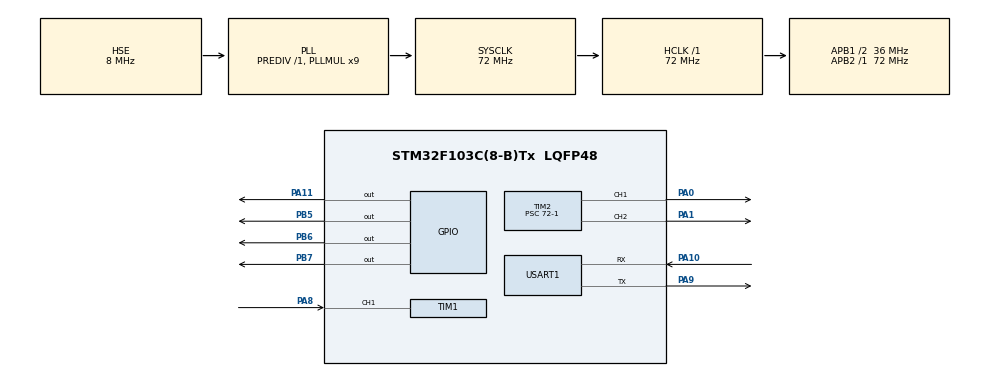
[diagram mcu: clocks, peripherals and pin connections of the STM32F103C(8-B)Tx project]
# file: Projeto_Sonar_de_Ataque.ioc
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Mcu.Family=STM32F1
Mcu.Name=STM32F103C(8-B)Tx
Mcu.Package=LQFP48
NVIC.PriorityGroup=NVIC_PRIORITYGROUP_4
NVIC.TIM1_CC_IRQn=true\:0\:0\:false\:false\:true\:true\:true\:true
PA0-WKUP.Signal=S_TIM2_CH1_ETR
PA1.Signal=S_TIM2_CH2
PA10.Mode=Asynchronous
PA10.Signal=USART1_RX
PA11.Signal=GPIO_Output
PA13.Mode=Serial_Wire
PA13.Signal=SYS_JTMS-SWDIO
PA14.Mode=Serial_Wire
PA14.Signal=SYS_JTCK-SWCLK
PA8.Signal=S_TIM1_CH1
PA9.Mode=Asynchronous
PA9.Signal=USART1_TX
PB5.Signal=GPIO_Output
PB6.Signal=GPIO_Output
PB7.Signal=GPIO_Output
PD0-OSC_IN.Mode=HSE-External-Oscillator
PD0-OSC_IN.Signal=RCC_OSC_IN
PD1-OSC_OUT.Mode=HSE-External-Oscillator
PD1-OSC_OUT.Signal=RCC_OSC_OUT
ProjectManager.HeapSize=0x200
ProjectManager.StackSize=0x400
ProjectManager.TargetToolchain=STM32CubeIDE
RCC.AHBFreq_Value=72000000
RCC.APB1CLKDivider=RCC_HCLK_DIV2
RCC.APB1Freq_Value=36000000
RCC.APB1TimFreq_Value=72000000
RCC.APB2Freq_Value=72000000
RCC.APB2TimFreq_Value=72000000
RCC.HCLKFreq_Value=72000000
RCC.PLLMUL=RCC_PLL_MUL9
RCC.PLLSourceVirtual=RCC_PLLSOURCE_HSE
RCC.SYSCLKFreq_VALUE=72000000
RCC.SYSCLKSource=RCC_SYSCLKSOURCE_PLLCLK
RCC.USBFreq_Value=72000000
SH.S_TIM1_CH1.0=TIM1_CH1,Input_Capture1_from_TI1
SH.S_TIM2_CH1_ETR.0=TIM2_CH1,PWM Generation1 CH1
SH.S_TIM2_CH2.0=TIM2_CH2,PWM Generation2 CH2
TIM1.Channel-Input_Capture1_from_TI1=TIM_CHANNEL_1
TIM1.Period=0xffff-1
TIM1.Prescaler=72-1
TIM2.AutoReloadPreload=TIM_AUTORELOAD_PRELOAD_ENABLE
TIM2.Channel-PWM\ Generation1\ CH1=TIM_CHANNEL_1
TIM2.Channel-PWM\ Generation2\ CH2=TIM_CHANNEL_2
TIM2.Period=20000-1
TIM2.Prescaler=72-1
USART1.VirtualMode=VM_ASYNC
VP_TIM2_VS_ClockSourceINT.Mode=Internal
board=custom

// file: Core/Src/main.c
/* USER CODE BEGIN Header */
/**
 ******************************************************************************
 * @file           : main.c
 * @brief          : Main program body
 ******************************************************************************
 * @attention
 *
 * Copyright (c) 2026 STMicroelectronics.
 * All rights reserved.
 *
 * This software is licensed under terms that can be found in the LICENSE file
 * in the root directory of this software component.
 * If no LICENSE file comes with this software, it is provided AS-IS.
 *
 ******************************************************************************
 */
/* USER CODE END Header */
#include "main.h"
#include "sonar_de_ataque.h"

TIM_HandleTypeDef htim1;
TIM_HandleTypeDef htim2;
UART_HandleTypeDef huart1;

void SystemClock_Config(void);
static void MX_GPIO_Init(void);
static void MX_TIM2_Init(void);
static void MX_USART1_UART_Init(void);
static void MX_TIM1_Init(void);

int __io_putchar(int ch)

{

	HAL_UART_Transmit(&huart1, (uint8_t*) &ch, 1, HAL_MAX_DELAY);

	return ch;

}

int main(void) {

	/* MCU Configuration--------------------------------------------------------*/

	/* Reset of all peripherals, Initializes the Flash interface and the Systick. */
	HAL_Init();

	/* Configure the system clock */
	SystemClock_Config();

	/* USER CODE BEGIN SysInit */
	//DWT_Init();
	/* USER CODE END SysInit */

	/* Initialize all configured peripherals */
	MX_GPIO_Init();
	MX_TIM2_Init();
	MX_USART1_UART_Init();
	MX_TIM1_Init();
	/* USER CODE BEGIN 2 */
	prototype.scanServo.htim = &htim2;
	prototype.scanServo.channel = TIM_CHANNEL_1;

	prototype.attackServo.htim = &htim2;
	prototype.attackServo.channel = TIM_CHANNEL_2;

	prototype.attackLaser.GPIOx = GPIOB;
	prototype.attackLaser.GPIO_Pin = GPIO_PIN_5;

	prototype.alertBuzzer.GPIOx = GPIOB;
	prototype.alertBuzzer.GPIO_Pin = GPIO_PIN_6;

	prototype.alertLed.GPIOx = GPIOB;
	prototype.alertLed.GPIO_Pin = GPIO_PIN_7;

	prototype.scanSonar.htim = &htim1;
	prototype.scanSonar.channel = TIM_CHANNEL_1;
	prototype.scanSonar.TrigPort = GPIOA;
	prototype.scanSonar.TrigPin = GPIO_PIN_11;
	Sonar_Attack_Init();

	/* USER CODE END 2 */
	/* Infinite loop */
	/* USER CODE BEGIN WHILE */
	while (1) {
		Sonar_Attack_Loop();
		//printf("Teste\n\r");
	}
	/* USER CODE END 3 */
}

void SystemClock_Config(void) {
	RCC_OscInitTypeDef RCC_OscInitStruct = { 0 };
	RCC_ClkInitTypeDef RCC_ClkInitStruct = { 0 };

	/** Initializes the RCC Oscillators according to the specified parameters
	 * in the RCC_OscInitTypeDef structure.
	 */
	RCC_OscInitStruct.OscillatorType = RCC_OSCILLATORTYPE_HSE;
	RCC_OscInitStruct.HSEState = RCC_HSE_ON;
	RCC_OscInitStruct.HSEPredivValue = RCC_HSE_PREDIV_DIV1;
	RCC_OscInitStruct.HSIState = RCC_HSI_ON;
	RCC_OscInitStruct.PLL.PLLState = RCC_PLL_ON;
	RCC_OscInitStruct.PLL.PLLSource = RCC_PLLSOURCE_HSE;
	RCC_OscInitStruct.PLL.PLLMUL = RCC_PLL_MUL9;
	if (HAL_RCC_OscConfig(&RCC_OscInitStruct) != HAL_OK) {
		Error_Handler();
	}

	/** Initializes the CPU, AHB and APB buses clocks
	 */
	RCC_ClkInitStruct.ClockType = RCC_CLOCKTYPE_HCLK | RCC_CLOCKTYPE_SYSCLK
			| RCC_CLOCKTYPE_PCLK1 | RCC_CLOCKTYPE_PCLK2;
	RCC_ClkInitStruct.SYSCLKSource = RCC_SYSCLKSOURCE_PLLCLK;
	RCC_ClkInitStruct.AHBCLKDivider = RCC_SYSCLK_DIV1;
	RCC_ClkInitStruct.APB1CLKDivider = RCC_HCLK_DIV2;
	RCC_ClkInitStruct.APB2CLKDivider = RCC_HCLK_DIV1;

	if (HAL_RCC_ClockConfig(&RCC_ClkInitStruct, FLASH_LATENCY_2) != HAL_OK) {
		Error_Handler();
	}
}

static void MX_TIM1_Init(void) {

	TIM_MasterConfigTypeDef sMasterConfig = { 0 };
	TIM_IC_InitTypeDef sConfigIC = { 0 };

	htim1.Instance = TIM1;
	htim1.Init.Prescaler = 72 - 1;
	htim1.Init.CounterMode = TIM_COUNTERMODE_UP;
	htim1.Init.Period = 0xffff - 1;
	htim1.Init.ClockDivision = TIM_CLOCKDIVISION_DIV1;
	htim1.Init.RepetitionCounter = 0;
	htim1.Init.AutoReloadPreload = TIM_AUTORELOAD_PRELOAD_DISABLE;
	if (HAL_TIM_IC_Init(&htim1) != HAL_OK) {
		Error_Handler();
	}
	sMasterConfig.MasterOutputTrigger = TIM_TRGO_RESET;
	sMasterConfig.MasterSlaveMode = TIM_MASTERSLAVEMODE_DISABLE;
	if (HAL_TIMEx_MasterConfigSynchronization(&htim1, &sMasterConfig)
			!= HAL_OK) {
		Error_Handler();
	}
	sConfigIC.ICPolarity = TIM_INPUTCHANNELPOLARITY_RISING;
	sConfigIC.ICSelection = TIM_ICSELECTION_DIRECTTI;
	sConfigIC.ICPrescaler = TIM_ICPSC_DIV1;
	sConfigIC.ICFilter = 0;
	if (HAL_TIM_IC_ConfigChannel(&htim1, &sConfigIC, TIM_CHANNEL_1) != HAL_OK) {
		Error_Handler();
	}

}

static void MX_TIM2_Init(void) {

	TIM_ClockConfigTypeDef sClockSourceConfig = { 0 };
	TIM_MasterConfigTypeDef sMasterConfig = { 0 };
	TIM_OC_InitTypeDef sConfigOC = { 0 };

	htim2.Instance = TIM2;
	htim2.Init.Prescaler = 72 - 1;
	htim2.Init.CounterMode = TIM_COUNTERMODE_UP;
	htim2.Init.Period = 20000 - 1;
	htim2.Init.ClockDivision = TIM_CLOCKDIVISION_DIV1;
	htim2.Init.AutoReloadPreload = TIM_AUTORELOAD_PRELOAD_ENABLE;
	if (HAL_TIM_Base_Init(&htim2) != HAL_OK) {
		Error_Handler();
	}
	sClockSourceConfig.ClockSource = TIM_CLOCKSOURCE_INTERNAL;
	if (HAL_TIM_ConfigClockSource(&htim2, &sClockSourceConfig) != HAL_OK) {
		Error_Handler();
	}
	if (HAL_TIM_PWM_Init(&htim2) != HAL_OK) {
		Error_Handler();
	}
	sMasterConfig.MasterOutputTrigger = TIM_TRGO_RESET;
	sMasterConfig.MasterSlaveMode = TIM_MASTERSLAVEMODE_DISABLE;
	if (HAL_TIMEx_MasterConfigSynchronization(&htim2, &sMasterConfig)
			!= HAL_OK) {
		Error_Handler();
	}
	sConfigOC.OCMode = TIM_OCMODE_PWM1;
	sConfigOC.Pulse = 0;
	sConfigOC.OCPolarity = TIM_OCPOLARITY_HIGH;
	sConfigOC.OCFastMode = TIM_OCFAST_DISABLE;
	if (HAL_TIM_PWM_ConfigChannel(&htim2, &sConfigOC, TIM_CHANNEL_1)
			!= HAL_OK) {
		Error_Handler();
	}
	if (HAL_TIM_PWM_ConfigChannel(&htim2, &sConfigOC, TIM_CHANNEL_2)
			!= HAL_OK) {
		Error_Handler();
	}
	HAL_TIM_MspPostInit(&htim2);

}

static void MX_USART1_UART_Init(void) {

	huart1.Instance = USART1;
	huart1.Init.BaudRate = 115200;
	huart1.Init.WordLength = UART_WORDLENGTH_8B;
	huart1.Init.StopBits = UART_STOPBITS_1;
	huart1.Init.Parity = UART_PARITY_NONE;
	huart1.Init.Mode = UART_MODE_TX_RX;
	huart1.Init.HwFlowCtl = UART_HWCONTROL_NONE;
	huart1.Init.OverSampling = UART_OVERSAMPLING_16;
	if (HAL_UART_Init(&huart1) != HAL_OK) {
		Error_Handler();
	}

}

static void MX_GPIO_Init(void) {
	GPIO_InitTypeDef GPIO_InitStruct = { 0 };

	/* GPIO Ports Clock Enable */
	__HAL_RCC_GPIOD_CLK_ENABLE();
	__HAL_RCC_GPIOA_CLK_ENABLE();
	__HAL_RCC_GPIOB_CLK_ENABLE();

	/*Configure GPIO pin Output Level */
	HAL_GPIO_WritePin(GPIOA, GPIO_PIN_11, GPIO_PIN_RESET);

	/*Configure GPIO pin Output Level */
	HAL_GPIO_WritePin(GPIOB, GPIO_PIN_5 | GPIO_PIN_6 | GPIO_PIN_7,
			GPIO_PIN_RESET);

	/*Configure GPIO pin : PA11 */
	GPIO_InitStruct.Pin = GPIO_PIN_11;
	GPIO_InitStruct.Mode = GPIO_MODE_OUTPUT_PP;
	GPIO_InitStruct.Pull = GPIO_NOPULL;
	GPIO_InitStruct.Speed = GPIO_SPEED_FREQ_LOW;
	HAL_GPIO_Init(GPIOA, &GPIO_InitStruct);

	/*Configure GPIO pins : PB5 PB6 PB7 */
	GPIO_InitStruct.Pin = GPIO_PIN_5 | GPIO_PIN_6 | GPIO_PIN_7;
	GPIO_InitStruct.Mode = GPIO_MODE_OUTPUT_PP;
	GPIO_InitStruct.Pull = GPIO_NOPULL;
	GPIO_InitStruct.Speed = GPIO_SPEED_FREQ_LOW;
	HAL_GPIO_Init(GPIOB, &GPIO_InitStruct);

}

void Error_Handler(void) {
	__disable_irq();
	while (1) {
	}
}
